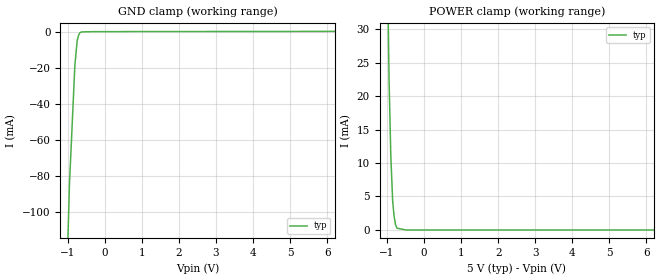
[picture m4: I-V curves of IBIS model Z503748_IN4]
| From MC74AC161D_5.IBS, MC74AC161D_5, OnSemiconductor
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| (C) COPYRIGHT 1993-2000
| MENTOR GRAPHICS CORPORATION
| ICX STANDARD LIBRARY, ICX PROJECT MODELING,
| ICX CUSTOM MODELING, ICX VENDOR MODEL
| ALL RIGHTS RESERVED.
| THE FOLLOWING ARE TRADEMARKS OR SERVICE MARKS OF
| MENTOR GRAPHICS CORPORATION:ICX (R), ICX STANDARD
| LIBRARY(R), ICX PROJECT MODELING(R), ICX CUSTOM
| MODELING(R), qualityIBIS(TM), MODELVIEWER(TM),
| AND MODELEDITOR(TM)
| ALL COPIES OF SOFTWARE, INCLUDING BUT NOT LIMITED TO
| ANY MODIFICATIONS, ENHANCEMENTS OR DERIVATIVE WORKS,
| MUST CONTAIN ALL MENTOR GRAPHICS CORPORATION'S
| NOTICES AND LEGENDS, INCLUDING THOSE EMBEDDED IN
| SOFTWARE AND THOSE AFFIXED TO SOFTWARE MEDIUM
| AND CONTAINER, AS RECEIVED FROM MENTOR GRAPHICS
| CORPORATION.
| Model Application Version 1.89 2/18/99.
[Model] Z503748_IN4
Model_type Input
Vinl = 1.500V
Vinh = 3.500V
C_comp 4.000pF NA NA
| variable typ   min   max
[Voltage Range] 5.000V NA NA
[GND Clamp Reference] 0.000V NA NA
[POWER Clamp Reference] 5.000V NA NA
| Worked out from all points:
|   GND clamp passes 1 mA (typ) near -0.69 V on its own axis
|   POWER clamp passes 1 mA (typ) near -0.78 V on its own axis
[GND Clamp]
-5V       -3.235A    NA         NA
-1.014V   -126.4mA   NA         NA
-810.5mV  -18.47mA   NA         NA
-747mV    -4.663mA   NA         NA
-704mV    -1.458mA   NA         NA
-667.2mV  -285.3uA   NA         NA
-628mV    43.17uA    NA         NA
10V       517.7uA    NA         NA
[POWER Clamp]
-5V       2.588A     NA         NA
-1.045V   63.08mA    NA         NA
-947mV    22.85mA    NA         NA
-899mV    11.18mA    NA         NA
-849mV    4.408mA    NA         NA
-811mV    2.098mA    NA         NA
-771mV    807.9uA    NA         NA
-732mV    267.3uA    NA         NA
-488mV    0A         NA         NA
10V       0A         NA         NA
